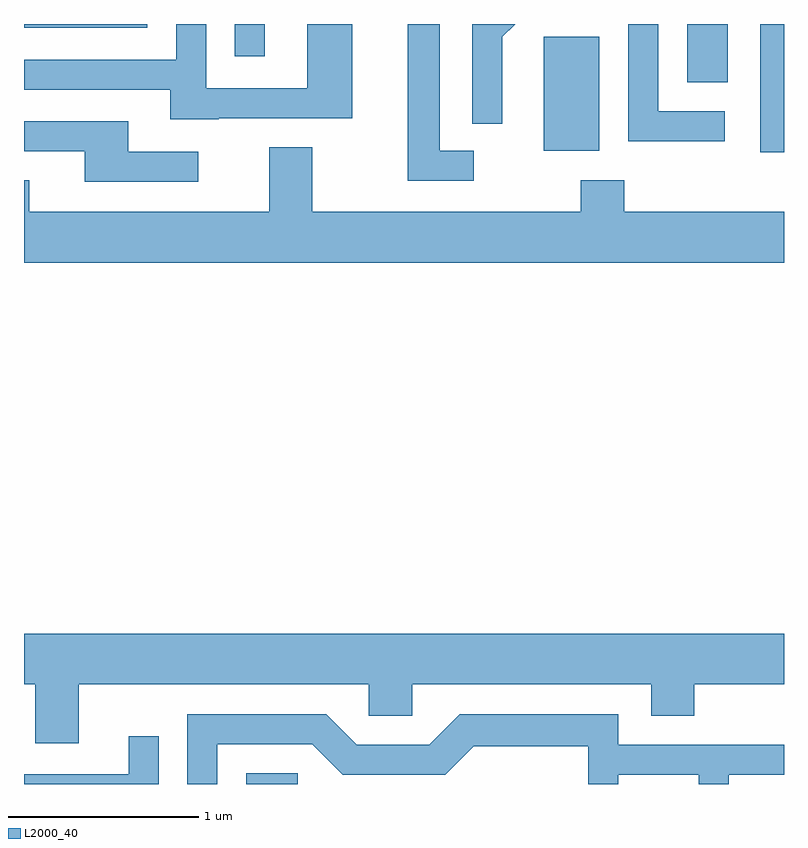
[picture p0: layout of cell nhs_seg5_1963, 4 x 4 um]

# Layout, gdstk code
import gdstk
lib = gdstk.Library(unit=1e-6, precision=1e-09)
def R(c, l, rs):  # rectangles x0, y0, x1, y1
    for r in rs: c.add(gdstk.rectangle(r[:2], r[2:], *l))
def P(c, l, *ps):  # polygons
    for p in ps: c.add(gdstk.Polygon(p, *l))
L2000_40 = (2000, 40)

nhs_seg5_1963 = lib.new_cell('nhs_seg5_1963')
R(nhs_seg5_1963, L2000_40, [(244.781,1434.072,245.053,1434.129), (247.486,1437.396,247.611,1438.072), (246.346,1437.406,246.639,1438.004), (247.101,1437.766,247.314,1438.072), (244.721,1437.903,244.879,1438.072), (243.611,1438.051,244.259,1438.072)])
P(nhs_seg5_1963, L2000_40, [(245.978,1437.404),(245.799,1437.404),(245.799,1438.072),(245.631,1438.072),(245.631,1437.246),(245.978,1437.246)],
  [(244.635,1437.576),(245.339,1437.576),(245.339,1438.072),(245.101,1438.072),(245.101,1437.734),(244.569,1437.734),(244.569,1438.072),(244.411,1438.072),(244.411,1437.884),(243.611,1437.884),(243.611,1437.726),(244.381,1437.726),(244.381,1437.571),(244.635,1437.571)],
  [(246.129,1438.004),(246.197,1438.072),(245.971,1438.072),(245.971,1437.548),(246.129,1437.548)],
  [(247.298,1437.614),(246.949,1437.614),(246.949,1438.072),(246.791,1438.072),(246.791,1437.456),(247.298,1437.456)],
  [(244.528,1437.399),(244.159,1437.399),(244.159,1437.559),(243.611,1437.559),(243.611,1437.401),(243.931,1437.401),(243.931,1437.241),(244.528,1437.241)],
  [(247.611,1437.084),(246.769,1437.084),(246.769,1437.249),(246.541,1437.249),(246.541,1437.084),(245.129,1437.084),(245.129,1437.424),(244.901,1437.424),(244.901,1437.084),(243.639,1437.084),(243.639,1437.249),(243.611,1437.249),(243.611,1436.816),(247.611,1436.816)],
  [(243.611,1434.596),(243.671,1434.596),(243.671,1434.286),(243.899,1434.286),(243.899,1434.596),(245.426,1434.596),(245.426,1434.431),(245.654,1434.431),(245.654,1434.596),(246.911,1434.596),(246.911,1434.431),(247.139,1434.431),(247.139,1434.596),(247.611,1434.596),(247.611,1434.864),(243.611,1434.864)],
  [(244.629,1434.281),(245.129,1434.281),(245.289,1434.121),(245.827,1434.121),(245.977,1434.271),(246.581,1434.271),(246.581,1434.072),(246.739,1434.072),(246.739,1434.121),(247.161,1434.121),(247.161,1434.072),(247.319,1434.072),(247.319,1434.121),(247.611,1434.121),(247.611,1434.279),(246.739,1434.279),(246.739,1434.439),(245.904,1434.439),(245.744,1434.279),(245.362,1434.279),(245.202,1434.439),(244.471,1434.439),(244.471,1434.072),(244.629,1434.072)],
  [(244.319,1434.323),(244.161,1434.323),(244.161,1434.124),(243.611,1434.124),(243.611,1434.072),(244.319,1434.072)])

lib.write_gds('nhs_seg5_1963.gds')
